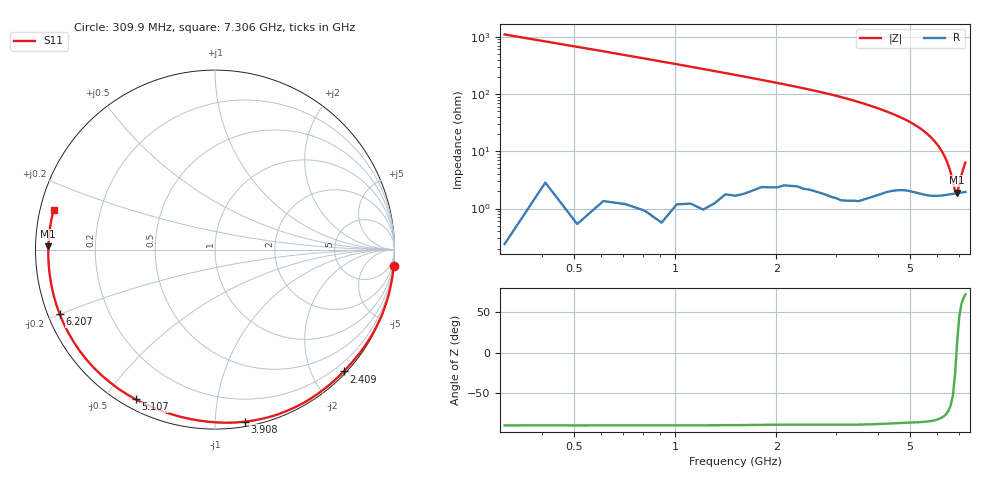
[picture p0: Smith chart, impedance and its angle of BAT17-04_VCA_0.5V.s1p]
! Infineon Technologies  Discrete & RF Semiconductors
! BAT17-04
! VCA = 0.5 V
! One-Port S-Parameters
# Hz  S  MA  R  50
!f  S11
!Hz  Mag  Ang
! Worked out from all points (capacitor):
!   71 points, 309.9 MHz to 7.306 GHz, reference 50 ohm
!   read as one part to ground: C = 467 fF near 309.9 MHz
!   lowest |Z| = 1.9 ohm at 6.907 GHz (marker M1)
!   series resonance near 6.873 GHz, so ESL is about 1.1 nH
!   S11 on the Smith chart (normalised r, x): 309.9 MHz: 0, -22; 2.409 GHz: 0.04, -2.51; 3.908 GHz: 0.03, -1.19; 5.107 GHz: 0.04, -0.60; 6.207 GHz: 0.03, -0.20; 7.306 GHz: 0.04, +0.12
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3.0985e8  1 -5.2
8.096e8  0.9995 -13.7
1.2094e9  0.9988 -20.7
1.6092e9  0.9957 -28.0
2.10895e9  0.9896 -37.4
2.4088e9  0.988 -43.4
2.70865e9  0.987 -49.6
3.0085e9  0.9865 -56.4
3.2084e9  0.9858 -61.3
3.50825e9  0.9828 -69.1
3.8081e9  0.9759 -77.4
3.90805e9  0.9731 -80.2
4.10795e9  0.9669 -86.1
4.30785e9  0.9599 -92.1
4.50775e9  0.9538 -98.3
4.70765e9  0.9487 -104.7
4.90755e9  0.9456 -111.2
5.10745e9  0.9444 -117.9
5.30735e9  0.9438 -124.9
5.6072e9  0.9431 -135.7
5.90705e9  0.9406 -146.6
6.10695e9  0.9384 -153.9
6.2069e9  0.9373 -157.4
6.50675e9  0.9331 -167.8
6.70665e9  0.9306 -174.6
6.90655e9  0.9288 178.9
7.10645e9  0.9273 172.5
7.30635e9  0.926 166.2
